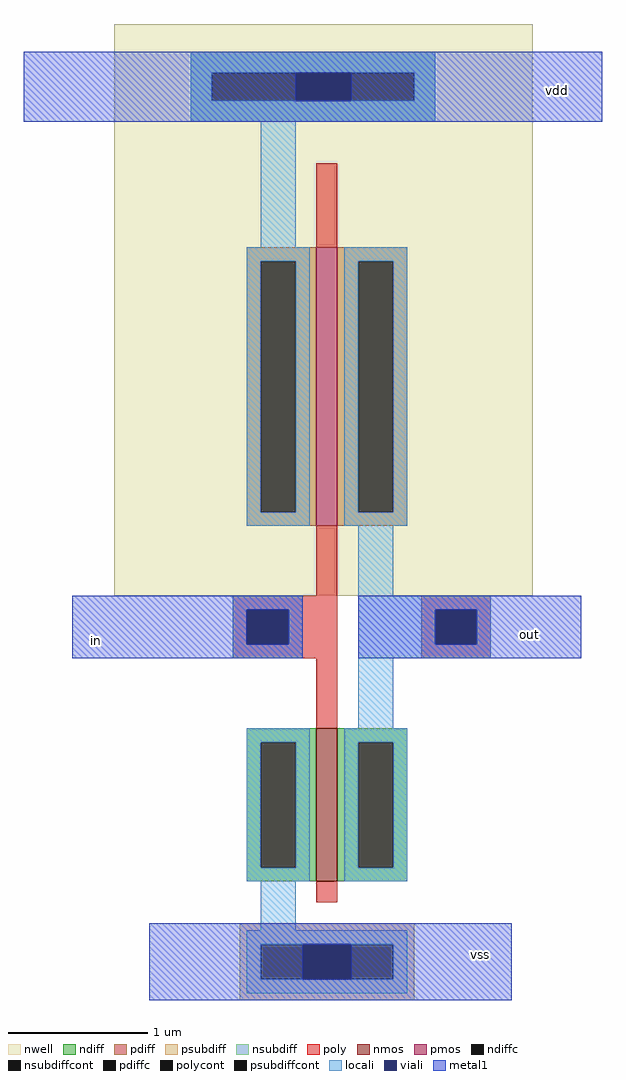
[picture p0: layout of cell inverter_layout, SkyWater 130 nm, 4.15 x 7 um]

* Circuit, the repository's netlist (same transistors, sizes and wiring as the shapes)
* SPICE3 file created from inverter_layout.ext - technology: sky130A

X0 out in vdd vdd sky130_fd_pr__pfet_01v8 ad=1 pd=5 as=1 ps=5 w=2 l=0.15
X1 out in vss vss sky130_fd_pr__nfet_01v8 ad=0.55 pd=3.2 as=0.55 ps=3.2 w=1.1 l=0.15

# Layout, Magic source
magic
tech sky130A
<< nwell >>
rect -100 -150 200 260
<< nmos >>
rect 45 -355 60 -245
<< pmos >>
rect 45 -100 60 100
<< ndiff >>
rect -5 -255 45 -245
rect -5 -345 5 -255
rect 30 -345 45 -255
rect -5 -355 45 -345
rect 60 -255 110 -245
rect 60 -345 75 -255
rect 100 -345 110 -255
rect 60 -355 110 -345
<< pdiff >>
rect -5 90 45 100
rect -5 -90 5 90
rect 30 -90 45 90
rect -5 -100 45 -90
rect 60 90 110 100
rect 60 -90 75 90
rect 100 -90 110 90
rect 60 -100 110 -90
<< ndiffc >>
rect 5 -345 30 -255
rect 75 -345 100 -255
<< pdiffc >>
rect 5 -90 30 90
rect 75 -90 100 90
<< psubdiff >>
rect -10 -400 115 -385
rect -10 -425 5 -400
rect 100 -425 115 -400
rect -10 -440 115 -425
<< nsubdiff >>
rect -45 225 130 240
rect -45 205 -30 225
rect 115 205 130 225
rect -45 190 130 205
<< psubdiffcont >>
rect 5 -425 100 -400
<< nsubdiffcont >>
rect -30 205 115 225
<< poly >>
rect 45 100 60 160
rect 45 -150 60 -100
rect -15 -160 60 -150
rect -15 -185 -5 -160
rect 25 -185 60 -160
rect -15 -195 60 -185
rect 120 -160 170 -150
rect 120 -185 130 -160
rect 160 -185 170 -160
rect 120 -195 170 -185
rect 45 -245 60 -195
rect 45 -370 60 -355
<< polycont >>
rect -5 -185 25 -160
rect 130 -185 160 -160
<< locali >>
rect -45 225 130 240
rect -45 205 -30 225
rect 115 205 130 225
rect -45 190 130 205
rect 5 100 30 190
rect -5 90 40 100
rect -5 -90 5 90
rect 30 -90 40 90
rect -5 -100 40 -90
rect 65 90 110 100
rect 65 -90 75 90
rect 100 -90 110 90
rect 65 -100 110 -90
rect 75 -150 100 -100
rect -15 -160 35 -150
rect -15 -185 -5 -160
rect 25 -185 35 -160
rect -15 -195 35 -185
rect 75 -160 170 -150
rect 75 -185 130 -160
rect 160 -185 170 -160
rect 75 -195 170 -185
rect 75 -245 100 -195
rect -5 -255 40 -245
rect -5 -345 5 -255
rect 30 -345 40 -255
rect -5 -355 40 -345
rect 65 -255 110 -245
rect 65 -345 75 -255
rect 100 -345 110 -255
rect 65 -355 110 -345
rect 5 -390 30 -355
rect -5 -400 110 -390
rect -5 -425 5 -400
rect 100 -425 110 -400
rect -5 -435 110 -425
<< viali >>
rect 30 205 70 225
rect -5 -185 25 -160
rect 130 -185 160 -160
rect 35 -425 70 -400
<< metal1 >>
rect -165 225 250 240
rect -165 205 30 225
rect 70 205 250 225
rect -165 190 250 205
rect -130 -160 35 -150
rect -130 -185 -5 -160
rect 25 -185 35 -160
rect -130 -195 35 -185
rect 75 -160 235 -150
rect 75 -185 130 -160
rect 160 -185 235 -160
rect 75 -195 235 -185
rect -75 -400 185 -385
rect -75 -425 35 -400
rect 70 -425 185 -400
rect -75 -440 185 -425
<< labels >>
rlabel metal1 215 210 220 215 1 vdd
rlabel metal1 160 -410 165 -405 1 vss
rlabel metal1 195 -180 200 -175 1 out
rlabel metal1 -115 -185 -110 -180 1 in
<< end >>
